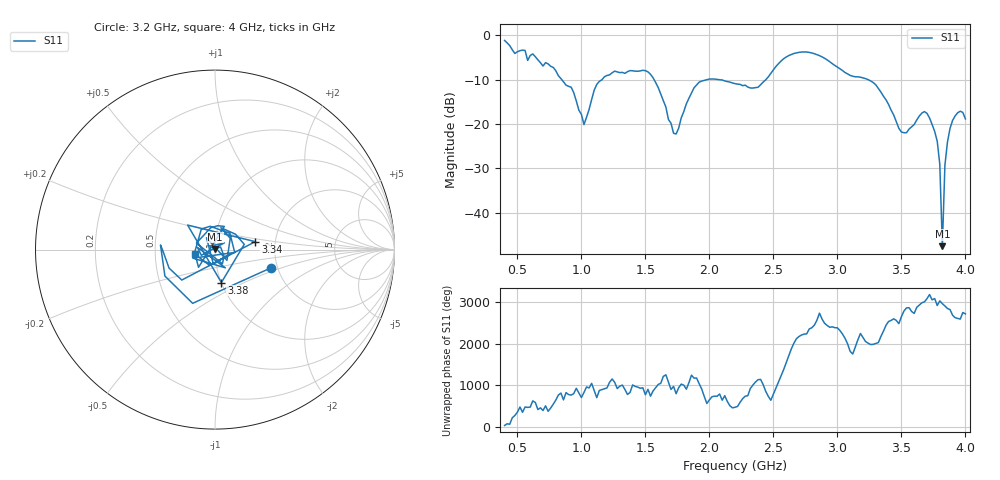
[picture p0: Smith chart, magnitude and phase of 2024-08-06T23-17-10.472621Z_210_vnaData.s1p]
!Created with skrf (http://scikit-rf.org).
# Hz S RI R 50.0
!freq ReS11 ImS11
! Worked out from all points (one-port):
!   181 points, 400 MHz to 4 GHz, reference 50 ohm
!   lowest |S11| = -47.5 dB at 3.82 GHz (marker M1), VSWR 1.01, Z = 50.1 + j0.415 ohm
!   |S11| at or under -10 dB: 1.568 GHz to 1.986 GHz (418.3 MHz wide, 23.5 % of centre); 2.069 GHz to 2.442 GHz (372.8 MHz wide, 16.5 % of centre); 3.238 GHz to end of sweep (the widest 3 of 4)
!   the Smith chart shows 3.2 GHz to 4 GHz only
!   S11 on the Smith chart (normalised r, x): 3.2 GHz: 1.86, -0.42; 3.34 GHz: 1.57, +0.15; 3.38 GHz: 1.00, -0.38; 4 GHz: 0.80, -0.04
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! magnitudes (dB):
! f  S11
! 400 MHz  -1.2
! 860 MHz  -10.5
! 920 MHz  -11.7
! 1.02 GHz  -20.1
! 1.12 GHz  -11.1
! 1.3 GHz  -8.4
! 1.52 GHz  -8.3
! 1.6 GHz  -11.8
! 1.72 GHz  -22.1
! 1.76 GHz  -21.0
! 1.92 GHz  -10.6
! 2.2 GHz  -10.9
! 2.38 GHz  -11.7
! 2.66 GHz  -4.1
! 3.1 GHz  -9.1
! 3.2 GHz  -9.6
! 3.34 GHz  -12.8
! 3.38 GHz  -14.6
! 3.5 GHz  -21.8
! 3.56 GHz  -21.1
! 3.68 GHz  -17.2
! 3.76 GHz  -21.7
! 3.8 GHz  -29.1
! 3.82 GHz  -47.5
! 3.84 GHz  -29.3
! 3.86 GHz  -24.0
! 3.92 GHz  -18.2
! 4 GHz  -18.9
